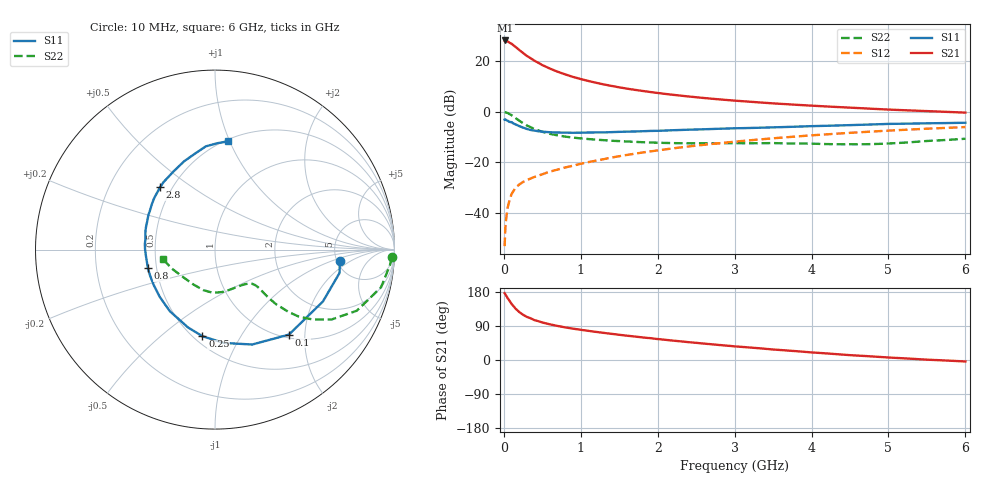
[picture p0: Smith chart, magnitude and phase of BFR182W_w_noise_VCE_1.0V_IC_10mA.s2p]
! Infineon Technologies  Discrete & RF Semiconductors
! BFR182W
! VCE =  1.0 V,  IC =  10 mA
! Common Emitter S-Parameters:  Jan 2017
# GHz  S  MA  R  50
!  f  S11  S21  S12  S22
! GHz  MAG  ANG  MAG  ANG  MAG  ANG  MAG  ANG
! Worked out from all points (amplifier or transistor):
!   77 points, 10 MHz to 6 GHz, reference 50 ohm
!   highest |S21| = 28.2 dB at 20 MHz (marker M1)
!   |S21| within 3 dB of that: start of sweep to 169.7 MHz
!   unconditionally stable (mu >= 1): 891.7 MHz to 2.867 GHz
!   at 130 MHz: K = 0.31, MSG = 28.6 dB, |S12| = -31.1 dB
!   at 2.2 GHz: K = 1.04, MAG = 9.3 dB, |S12| = -14.4 dB
!   at 6 GHz: K = 0.90, MSG = 2.9 dB, |S12| = -6.0 dB
!   lowest NFmin = 1.07 dB at 450 MHz
!   S11 on the Smith chart (normalised r, x): 10 MHz: 5.28, -1.36; 100 MHz: 1.06, -1.66; 250 MHz: 0.55, -0.70; 800 MHz: 0.45, -0.11; 2.8 GHz: 0.43, +0.38; 6 GHz: 0.52, +0.99
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0.01  0.6987 -5.4  25.71 176.5  0.0022 86.3  0.9869 -2.5
0.02  0.7062 -10.6  25.84 173.2  0.0051 92.9  0.9779 -5.3
0.05  0.6671 -25.7  24.81 162.9  0.0127 77.3  0.9485 -12.8
0.1  0.6275 -49.0  22.27 147.9  0.0234 68.5  0.8604 -23.3
0.15  0.568 -68.6  19.38 135.9  0.031 63.3  0.7579 -30.9
0.2  0.522 -84.8  16.75 126.6  0.0365 59.9  0.6691 -35.6
0.25  0.4876 -98.3  14.6 119.2  0.041 57.7  0.5959 -38.7
0.3  0.4588 -109.2  12.78 113.7  0.0447 56.7  0.5368 -40.3
0.4  0.4255 -126.2  10.22 105.1  0.0517 56.2  0.4554 -41.8
0.5  0.4055 -139.1  8.421 99.0  0.0582 56.8  0.4027 -42.0
0.6  0.3948 -149.3  7.167 94.0  0.0659 58.3  0.3667 -41.7
0.7  0.39 -157.5  6.212 89.8  0.0721 60.0  0.3418 -41.3
0.8  0.3878 -164.4  5.494 86.0  0.0795 61.1  0.3233 -41.2
0.9  0.3856 -170.3  4.907 82.7  0.0861 61.4  0.3096 -41.2
1.1  0.3898 179.6  4.077 76.9  0.1013 62.7  0.2896 -42.1
1.5  0.402 164.4  3.054 66.6  0.1323 63.2  0.2638 -46.1
2.1  0.4267 147.1  2.264 53.3  0.1811 61.4  0.2426 -57.9
2.8  0.4628 131.5  1.764 39.6  0.2394 57.3  0.2392 -75.9
3.1  0.476 125.3  1.625 34.5  0.2652 54.9  0.2391 -83.3
4.1  0.5255 107.7  1.301 18.7  0.3509 46.4  0.2323 -109.1
5.1  0.5799 93.8  1.093 5.5  0.4327 36.7  0.2407 -144.6
6  0.6083 83.0  0.966 -3.9  0.5 27.4  0.2936 -169.5
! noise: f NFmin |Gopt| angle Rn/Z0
0.45  1.07  0.08  50  0.15
0.9  1.15  0.07  86  0.15
1.9  1.65  0.19  -164  0.13
2.4  1.9  0.18  -156  0.2
